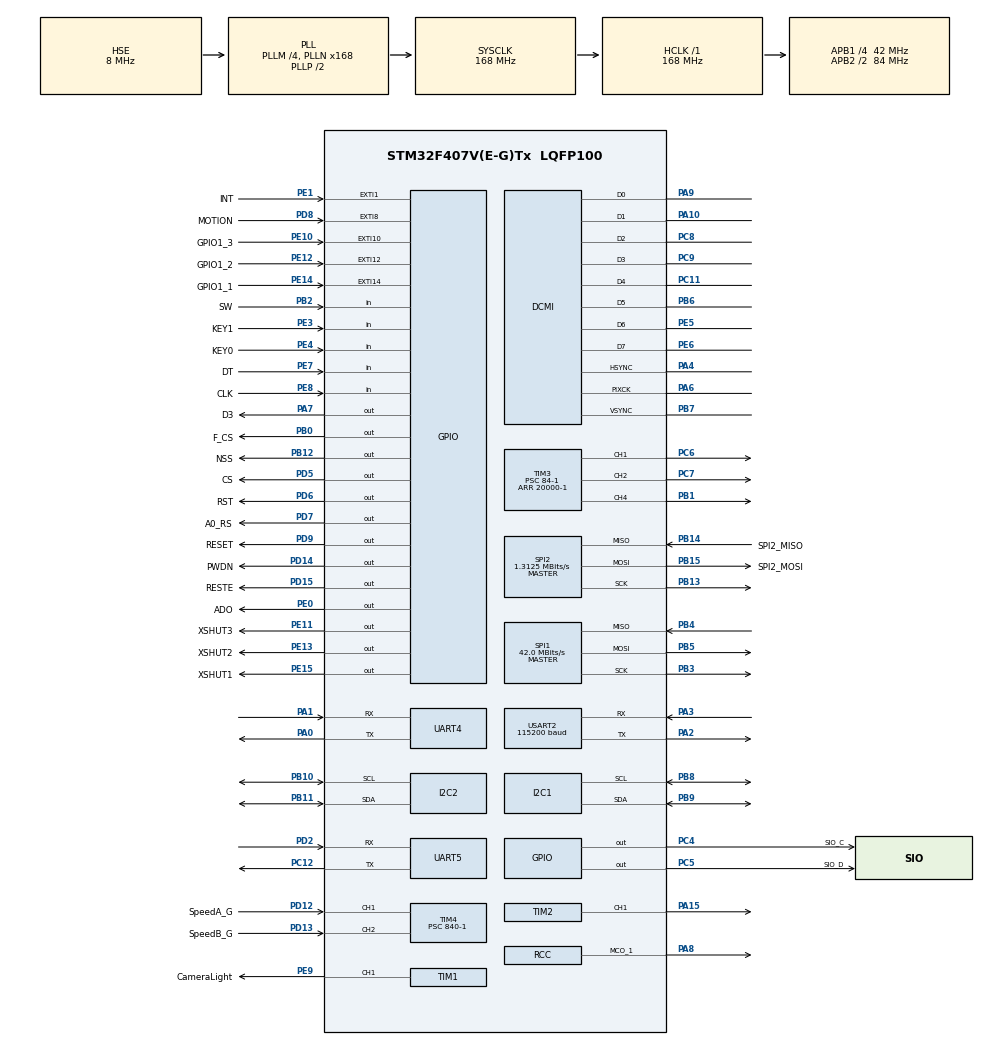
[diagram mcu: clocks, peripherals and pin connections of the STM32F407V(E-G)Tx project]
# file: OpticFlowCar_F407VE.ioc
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DCMI.HSPolarity=DCMI_HSPOLARITY_HIGH
DCMI.PCKPolarity=DCMI_PCKPOLARITY_FALLING
DCMI.VSPolarity=DCMI_VSPOLARITY_HIGH
Dma.DCMI.5.Direction=DMA_PERIPH_TO_MEMORY
Dma.DCMI.5.FIFOMode=DMA_FIFOMODE_ENABLE
Dma.DCMI.5.FIFOThreshold=DMA_FIFO_THRESHOLD_FULL
Dma.DCMI.5.Instance=DMA2_Stream1
Dma.DCMI.5.MemBurst=DMA_MBURST_SINGLE
Dma.DCMI.5.MemDataAlignment=DMA_MDATAALIGN_WORD
Dma.DCMI.5.MemInc=DMA_MINC_ENABLE
Dma.DCMI.5.Mode=DMA_CIRCULAR
Dma.DCMI.5.PeriphBurst=DMA_PBURST_SINGLE
Dma.DCMI.5.PeriphDataAlignment=DMA_PDATAALIGN_WORD
Dma.DCMI.5.PeriphInc=DMA_PINC_DISABLE
Dma.DCMI.5.Priority=DMA_PRIORITY_VERY_HIGH
Dma.Request0=SPI2_RX
Dma.Request1=SPI2_TX
Dma.Request2=USART2_TX
Dma.Request3=USART2_RX
Dma.Request4=UART5_RX
Dma.Request5=DCMI
Dma.SPI2_RX.0.Direction=DMA_PERIPH_TO_MEMORY
Dma.SPI2_RX.0.FIFOMode=DMA_FIFOMODE_ENABLE
Dma.SPI2_RX.0.FIFOThreshold=DMA_FIFO_THRESHOLD_FULL
Dma.SPI2_RX.0.Instance=DMA1_Stream3
Dma.SPI2_RX.0.MemBurst=DMA_MBURST_SINGLE
Dma.SPI2_RX.0.MemDataAlignment=DMA_MDATAALIGN_BYTE
Dma.SPI2_RX.0.MemInc=DMA_MINC_ENABLE
Dma.SPI2_RX.0.Mode=DMA_NORMAL
Dma.SPI2_RX.0.PeriphBurst=DMA_PBURST_SINGLE
Dma.SPI2_RX.0.PeriphDataAlignment=DMA_PDATAALIGN_BYTE
Dma.SPI2_RX.0.PeriphInc=DMA_PINC_DISABLE
Dma.SPI2_RX.0.Priority=DMA_PRIORITY_HIGH
Dma.SPI2_TX.1.Direction=DMA_MEMORY_TO_PERIPH
Dma.SPI2_TX.1.FIFOMode=DMA_FIFOMODE_ENABLE
Dma.SPI2_TX.1.FIFOThreshold=DMA_FIFO_THRESHOLD_FULL
Dma.SPI2_TX.1.Instance=DMA1_Stream4
Dma.SPI2_TX.1.MemBurst=DMA_MBURST_SINGLE
Dma.SPI2_TX.1.MemDataAlignment=DMA_MDATAALIGN_BYTE
Dma.SPI2_TX.1.MemInc=DMA_MINC_ENABLE
Dma.SPI2_TX.1.Mode=DMA_NORMAL
Dma.SPI2_TX.1.PeriphBurst=DMA_PBURST_SINGLE
Dma.SPI2_TX.1.PeriphDataAlignment=DMA_PDATAALIGN_BYTE
Dma.SPI2_TX.1.PeriphInc=DMA_PINC_DISABLE
Dma.SPI2_TX.1.Priority=DMA_PRIORITY_HIGH
Dma.UART5_RX.4.Direction=DMA_PERIPH_TO_MEMORY
Dma.UART5_RX.4.FIFOMode=DMA_FIFOMODE_DISABLE
Dma.UART5_RX.4.Instance=DMA1_Stream0
Dma.UART5_RX.4.MemDataAlignment=DMA_MDATAALIGN_BYTE
Dma.UART5_RX.4.MemInc=DMA_MINC_ENABLE
Dma.UART5_RX.4.Mode=DMA_NORMAL
Dma.UART5_RX.4.PeriphDataAlignment=DMA_PDATAALIGN_BYTE
Dma.UART5_RX.4.PeriphInc=DMA_PINC_DISABLE
Dma.UART5_RX.4.Priority=DMA_PRIORITY_LOW
Dma.USART2_RX.3.Direction=DMA_PERIPH_TO_MEMORY
Dma.USART2_RX.3.FIFOMode=DMA_FIFOMODE_DISABLE
Dma.USART2_RX.3.Instance=DMA1_Stream5
Dma.USART2_RX.3.MemDataAlignment=DMA_MDATAALIGN_BYTE
Dma.USART2_RX.3.MemInc=DMA_MINC_ENABLE
Dma.USART2_RX.3.Mode=DMA_NORMAL
Dma.USART2_RX.3.PeriphDataAlignment=DMA_PDATAALIGN_BYTE
Dma.USART2_RX.3.PeriphInc=DMA_PINC_DISABLE
Dma.USART2_RX.3.Priority=DMA_PRIORITY_HIGH
Dma.USART2_TX.2.Direction=DMA_MEMORY_TO_PERIPH
Dma.USART2_TX.2.FIFOMode=DMA_FIFOMODE_ENABLE
Dma.USART2_TX.2.FIFOThreshold=DMA_FIFO_THRESHOLD_FULL
Dma.USART2_TX.2.Instance=DMA1_Stream6
Dma.USART2_TX.2.MemBurst=DMA_MBURST_SINGLE
Dma.USART2_TX.2.MemDataAlignment=DMA_MDATAALIGN_BYTE
Dma.USART2_TX.2.MemInc=DMA_MINC_ENABLE
Dma.USART2_TX.2.Mode=DMA_NORMAL
Dma.USART2_TX.2.PeriphBurst=DMA_PBURST_SINGLE
Dma.USART2_TX.2.PeriphDataAlignment=DMA_PDATAALIGN_BYTE
Dma.USART2_TX.2.PeriphInc=DMA_PINC_DISABLE
Dma.USART2_TX.2.Priority=DMA_PRIORITY_HIGH
FREERTOS.INCLUDE_vTaskDelayUntil=1
FREERTOS.INCLUDE_xEventGroupSetBitFromISR=0
FREERTOS.INCLUDE_xTimerPendFunctionCall=0
FREERTOS.Tasks01=startTask,0,512,StartTask,Default,NULL,Dynamic,NULL,NULL
FREERTOS.configTIMER_TASK_STACK_DEPTH=128
FREERTOS.configTOTAL_HEAP_SIZE=32768
FREERTOS.configUSE_TIMERS=1
I2C1.DutyCycle=I2C_DUTYCYCLE_16_9
I2C1.I2C_Mode=I2C_Fast
I2C2.DutyCycle=I2C_DUTYCYCLE_16_9
I2C2.I2C_Mode=I2C_Fast
Mcu.Family=STM32F4
Mcu.Name=STM32F407V(E-G)Tx
Mcu.Package=LQFP100
NVIC.DCMI_IRQn=true\:5\:0\:false\:false\:true\:true\:true
NVIC.DMA1_Stream0_IRQn=true\:5\:0\:false\:false\:true\:true\:false
NVIC.DMA1_Stream3_IRQn=true\:5\:0\:false\:false\:true\:true\:false
NVIC.DMA1_Stream4_IRQn=true\:5\:0\:false\:false\:true\:true\:false
NVIC.DMA1_Stream5_IRQn=true\:5\:0\:false\:false\:true\:true\:false
NVIC.DMA1_Stream6_IRQn=true\:5\:0\:false\:false\:true\:true\:false
NVIC.DMA2_Stream1_IRQn=true\:5\:0\:false\:false\:true\:true\:false
NVIC.EXTI15_10_IRQn=true\:6\:0\:true\:false\:true\:true\:true
NVIC.EXTI1_IRQn=true\:6\:0\:true\:false\:true\:true\:true
NVIC.EXTI9_5_IRQn=true\:6\:0\:true\:false\:true\:true\:true
NVIC.I2C1_ER_IRQn=true\:5\:0\:false\:false\:true\:true\:true
NVIC.I2C1_EV_IRQn=true\:5\:0\:false\:false\:true\:true\:true
NVIC.I2C2_ER_IRQn=true\:5\:0\:false\:false\:true\:true\:true
NVIC.I2C2_EV_IRQn=true\:5\:0\:false\:false\:true\:true\:true
NVIC.PriorityGroup=NVIC_PRIORITYGROUP_4
NVIC.SPI1_IRQn=true\:5\:0\:false\:false\:true\:true\:true
NVIC.SPI2_IRQn=true\:5\:0\:false\:false\:true\:true\:true
NVIC.TIM3_IRQn=true\:5\:0\:false\:false\:true\:true\:true
NVIC.TIM4_IRQn=true\:5\:0\:false\:false\:true\:true\:true
NVIC.TIM7_IRQn=true\:0\:0\:false\:false\:true\:false\:false
NVIC.TimeBase=TIM7_IRQn
NVIC.TimeBaseIP=TIM7
NVIC.UART4_IRQn=true\:5\:0\:false\:false\:true\:true\:true
NVIC.UART5_IRQn=true\:5\:0\:false\:false\:true\:true\:true
NVIC.USART2_IRQn=true\:5\:0\:false\:false\:true\:true\:true
PA0-WKUP.Mode=Asynchronous
PA0-WKUP.Signal=UART4_TX
PA1.Mode=Asynchronous
PA1.Signal=UART4_RX
PA10.GPIO_PuPd=GPIO_PULLUP
PA10.GPIO_Speed=GPIO_SPEED_FREQ_VERY_HIGH
PA10.Mode=Slave_8_bits_External_Synchro
PA10.Signal=DCMI_D1
PA13.Mode=Serial_Wire
PA13.Signal=SYS_JTMS-SWDIO
PA14.Mode=Serial_Wire
PA14.Signal=SYS_JTCK-SWCLK
PA15.Signal=S_TIM2_CH1_ETR
PA2.Mode=Asynchronous
PA2.Signal=USART2_TX
PA3.Mode=Asynchronous
PA3.Signal=USART2_RX
PA4.GPIO_PuPd=GPIO_PULLUP
PA4.GPIO_Speed=GPIO_SPEED_FREQ_VERY_HIGH
PA4.Mode=Slave_8_bits_External_Synchro
PA4.Signal=DCMI_HSYNC
PA6.GPIO_PuPd=GPIO_PULLUP
PA6.GPIO_Speed=GPIO_SPEED_FREQ_VERY_HIGH
PA6.Mode=Slave_8_bits_External_Synchro
PA6.Signal=DCMI_PIXCK
PA7.GPIO_Label=D3
PA7.GPIO_ModeDefaultOutputPP=GPIO_MODE_OUTPUT_OD
PA7.PinState=GPIO_PIN_SET
PA7.Signal=GPIO_Output
PA8.GPIO_Speed=GPIO_SPEED_FREQ_MEDIUM
PA8.Mode=Clock-out-1
PA8.Signal=RCC_MCO_1
PA9.GPIO_PuPd=GPIO_PULLUP
PA9.GPIO_Speed=GPIO_SPEED_FREQ_VERY_HIGH
PA9.Mode=Slave_8_bits_External_Synchro
PA9.Signal=DCMI_D0
PB0.GPIO_Label=F_CS
PB0.GPIO_ModeDefaultOutputPP=GPIO_MODE_OUTPUT_OD
PB0.GPIO_Speed=GPIO_SPEED_FREQ_VERY_HIGH
PB0.PinState=GPIO_PIN_SET
PB0.Signal=GPIO_Output
PB1.GPIO_ModeDefaultPP=GPIO_MODE_AF_PP
PB1.GPIO_PuPd=GPIO_NOPULL
PB1.Signal=S_TIM3_CH4
PB10.Mode=I2C
PB10.Signal=I2C2_SCL
PB11.Mode=I2C
PB11.Signal=I2C2_SDA
PB12.GPIO_Label=NSS
PB12.GPIO_Speed=GPIO_SPEED_FREQ_VERY_HIGH
PB12.PinState=GPIO_PIN_SET
PB12.Signal=GPIO_Output
PB13.Mode=Full_Duplex_Master
PB13.Signal=SPI2_SCK
PB14.GPIO_Label=SPI2_MISO
PB14.Mode=Full_Duplex_Master
PB14.Signal=SPI2_MISO
PB15.GPIO_Label=SPI2_MOSI
PB15.Mode=Full_Duplex_Master
PB15.Signal=SPI2_MOSI
PB2.GPIO_Label=SW
PB2.Signal=GPIO_Input
PB3.Mode=Full_Duplex_Master
PB3.Signal=SPI1_SCK
PB4.Mode=Full_Duplex_Master
PB4.Signal=SPI1_MISO
PB5.Mode=Full_Duplex_Master
PB5.Signal=SPI1_MOSI
PB6.GPIO_PuPd=GPIO_PULLUP
PB6.GPIO_Speed=GPIO_SPEED_FREQ_VERY_HIGH
PB6.Mode=Slave_8_bits_External_Synchro
PB6.Signal=DCMI_D5
PB7.GPIO_PuPd=GPIO_PULLUP
PB7.GPIO_Speed=GPIO_SPEED_FREQ_VERY_HIGH
PB7.Mode=Slave_8_bits_External_Synchro
PB7.Signal=DCMI_VSYNC
PB8.Mode=I2C
PB8.Signal=I2C1_SCL
PB9.Mode=I2C
PB9.Signal=I2C1_SDA
PC11.GPIO_PuPd=GPIO_PULLUP
PC11.GPIO_Speed=GPIO_SPEED_FREQ_VERY_HIGH
PC11.Mode=Slave_8_bits_External_Synchro
PC11.Signal=DCMI_D4
PC12.Mode=Asynchronous
PC12.Signal=UART5_TX
PC14-OSC32_IN.Mode=LSE-External-Oscillator
PC14-OSC32_IN.Signal=RCC_OSC32_IN
PC15-OSC32_OUT.Mode=LSE-External-Oscillator
PC15-OSC32_OUT.Signal=RCC_OSC32_OUT
PC4.GPIO_Label=SIO_C
PC4.GPIO_ModeDefaultOutputPP=GPIO_MODE_OUTPUT_OD
PC4.GPIO_Speed=GPIO_SPEED_FREQ_HIGH
PC4.PinState=GPIO_PIN_SET
PC4.Signal=GPIO_Output
PC5.GPIO_Label=SIO_D
PC5.GPIO_ModeDefaultOutputPP=GPIO_MODE_OUTPUT_OD
PC5.GPIO_Speed=GPIO_SPEED_FREQ_HIGH
PC5.PinState=GPIO_PIN_SET
PC5.Signal=GPIO_Output
PC6.Signal=S_TIM3_CH1
PC7.Signal=S_TIM3_CH2
PC8.GPIO_PuPd=GPIO_PULLUP
PC8.GPIO_Speed=GPIO_SPEED_FREQ_VERY_HIGH
PC8.Mode=Slave_8_bits_External_Synchro
PC8.Signal=DCMI_D2
PC9.GPIO_PuPd=GPIO_PULLUP
PC9.GPIO_Speed=GPIO_SPEED_FREQ_VERY_HIGH
PC9.Mode=Slave_8_bits_External_Synchro
PC9.Signal=DCMI_D3
PD12.GPIO_Label=SpeedA_G
PD12.GPIO_ModeDefaultPP=GPIO_MODE_AF_OD
PD12.Signal=S_TIM4_CH1
PD13.GPIO_Label=SpeedB_G
PD13.GPIO_ModeDefaultPP=GPIO_MODE_AF_OD
PD13.Signal=S_TIM4_CH2
PD14.GPIO_Label=PWDN
PD14.Signal=GPIO_Output
PD15.GPIO_Label=RESTE
PD15.Signal=GPIO_Output
PD2.Mode=Asynchronous
PD2.Signal=UART5_RX
PD5.GPIO_Label=CS
PD5.GPIO_Speed=GPIO_SPEED_FREQ_VERY_HIGH
PD5.PinState=GPIO_PIN_SET
PD5.Signal=GPIO_Output
PD6.GPIO_Label=RST
PD6.PinState=GPIO_PIN_SET
PD6.Signal=GPIO_Output
PD7.GPIO_Label=A0_RS
PD7.GPIO_Speed=GPIO_SPEED_FREQ_VERY_HIGH
PD7.PinState=GPIO_PIN_SET
PD7.Signal=GPIO_Output
PD8.GPIO_Label=MOTION
PD8.GPIO_ModeDefaultEXTI=GPIO_MODE_IT_FALLING
PD8.GPIO_PuPd=GPIO_PULLUP
PD8.Signal=GPXTI8
PD9.GPIO_Label=RESET
PD9.GPIO_ModeDefaultOutputPP=GPIO_MODE_OUTPUT_OD
PD9.PinState=GPIO_PIN_SET
PD9.Signal=GPIO_Output
PE0.GPIO_Label=ADO
PE0.Signal=GPIO_Output
PE1.GPIO_Label=INT
PE1.Signal=GPXTI1
PE10.GPIO_Label=GPIO1_3
PE10.GPIO_ModeDefaultEXTI=GPIO_MODE_IT_FALLING
PE10.GPIO_PuPd=GPIO_PULLUP
PE10.Signal=GPXTI10
PE11.GPIO_Label=XSHUT3
PE11.Signal=GPIO_Output
PE12.GPIO_Label=GPIO1_2
PE12.GPIO_ModeDefaultEXTI=GPIO_MODE_IT_FALLING
PE12.GPIO_PuPd=GPIO_PULLUP
PE12.Signal=GPXTI12
PE13.GPIO_Label=XSHUT2
PE13.Signal=GPIO_Output
PE14.GPIO_Label=GPIO1_1
PE14.GPIO_ModeDefaultEXTI=GPIO_MODE_IT_FALLING
PE14.GPIO_PuPd=GPIO_PULLUP
PE14.Signal=GPXTI14
PE15.GPIO_Label=XSHUT1
PE15.Signal=GPIO_Output
PE3.GPIO_Label=KEY1
PE3.Signal=GPIO_Input
PE4.GPIO_Label=KEY0
PE4.GPIO_PuPd=GPIO_PULLUP
PE4.Signal=GPIO_Input
PE5.GPIO_PuPd=GPIO_PULLUP
PE5.GPIO_Speed=GPIO_SPEED_FREQ_VERY_HIGH
PE5.Mode=Slave_8_bits_External_Synchro
PE5.Signal=DCMI_D6
PE6.GPIO_PuPd=GPIO_PULLUP
PE6.GPIO_Speed=GPIO_SPEED_FREQ_VERY_HIGH
PE6.Mode=Slave_8_bits_External_Synchro
PE6.Signal=DCMI_D7
PE7.GPIO_Label=DT
PE7.Signal=GPIO_Input
PE8.GPIO_Label=CLK
PE8.Signal=GPIO_Input
PE9.GPIO_Label=CameraLight
PE9.GPIO_ModeDefaultPP=GPIO_MODE_AF_OD
PE9.Signal=S_TIM1_CH1
PH0-OSC_IN.Mode=HSE-External-Oscillator
PH0-OSC_IN.Signal=RCC_OSC_IN
PH1-OSC_OUT.Mode=HSE-External-Oscillator
PH1-OSC_OUT.Signal=RCC_OSC_OUT
ProjectManager.HeapSize=0x1000
ProjectManager.StackSize=0x400
ProjectManager.TargetToolchain=MDK-ARM V5
RCC.48MHZClocksFreq_Value=48000000
RCC.AHBFreq_Value=168000000
RCC.APB1CLKDivider=RCC_HCLK_DIV4
RCC.APB1Freq_Value=42000000
RCC.APB1TimFreq_Value=84000000
RCC.APB2CLKDivider=RCC_HCLK_DIV2
RCC.APB2Freq_Value=84000000
RCC.APB2TimFreq_Value=168000000
RCC.CortexFreq_Value=168000000
RCC.HCLKFreq_Value=168000000
RCC.HSE_VALUE=8000000
RCC.HSI_VALUE=16000000
RCC.PLLM=4
RCC.PLLN=168
RCC.PLLQ=7
RCC.PLLSourceVirtual=RCC_PLLSOURCE_HSE
RCC.SYSCLKFreq_VALUE=168000000
RCC.SYSCLKSource=RCC_SYSCLKSOURCE_PLLCLK
RCC.VCOOutputFreq_Value=336000000
SH.S_TIM1_CH1.0=TIM1_CH1,PWM Generation1 CH1
SH.S_TIM2_CH1_ETR.0=TIM2_CH1,PWM Generation1 CH1
SH.S_TIM3_CH1.0=TIM3_CH1,PWM Generation1 CH1
SH.S_TIM3_CH2.0=TIM3_CH2,PWM Generation2 CH2
SH.S_TIM3_CH4.0=TIM3_CH4,PWM Generation4 CH4
SH.S_TIM4_CH1.0=TIM4_CH1,Input_Capture1_from_TI1
SH.S_TIM4_CH2.0=TIM4_CH2,Input_Capture2_from_TI2
SPI1.BaudRatePrescaler=SPI_BAUDRATEPRESCALER_2
SPI1.CLKPolarity=SPI_POLARITY_LOW
SPI1.CalculateBaudRate=42.0 MBits/s
SPI1.Direction=SPI_DIRECTION_2LINES
SPI1.Mode=SPI_MODE_MASTER
SPI1.VirtualType=VM_MASTER
SPI2.BaudRatePrescaler=SPI_BAUDRATEPRESCALER_32
SPI2.CalculateBaudRate=1.3125 MBits/s
SPI2.Direction=SPI_DIRECTION_2LINES
SPI2.Mode=SPI_MODE_MASTER
SPI2.VirtualType=VM_MASTER
TIM1.Channel-PWM\ Generation1\ CH1=TIM_CHANNEL_1
TIM2.Channel-PWM\ Generation1\ CH1=TIM_CHANNEL_1
TIM2.Period=100
TIM2.Prescaler=42-1
TIM3.Channel-PWM\ Generation1\ CH1=TIM_CHANNEL_1
TIM3.Channel-PWM\ Generation2\ CH2=TIM_CHANNEL_2
TIM3.Channel-PWM\ Generation4\ CH4=TIM_CHANNEL_4
TIM3.OCPolarity_4=TIM_OCPOLARITY_HIGH
TIM3.Period=20000-1
TIM3.Prescaler=84-1
TIM3.Pulse-PWM\ Generation1\ CH1=1500
TIM3.Pulse-PWM\ Generation2\ CH2=1500
TIM3.Pulse-PWM\ Generation4\ CH4=1500
TIM4.Channel-Input_Capture1_from_TI1=TIM_CHANNEL_1
TIM4.Channel-Input_Capture2_from_TI2=TIM_CHANNEL_2
TIM4.ICFilter_CH1=8
TIM4.ICFilter_CH2=8
TIM4.Period=20000-1
TIM4.Prescaler=840-1
UART4.VirtualMode=Asynchronous
UART5.VirtualMode=Asynchronous
USART2.BaudRate=115200
USART2.VirtualMode=VM_ASYNC
VP_CRC_VS_CRC.Mode=CRC_Activate
VP_FREERTOS_VS_ENABLE.Mode=Enabled
VP_SYS_VS_tim7.Mode=TIM7
board=custom

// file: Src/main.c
/**
  ******************************************************************************
  * @file           : main.c
  * @brief          : Main program body
  ******************************************************************************
  * This notice applies to any and all portions of this file
  * that are not between comment pairs USER CODE BEGIN and
  * USER CODE END. Other portions of this file, whether
  * inserted by the user or by software development tools
  * are owned by their respective copyright owners.
  *
  * Copyright (c) 2018 STMicroelectronics International N.V.
  * All rights reserved.
  *
  * Redistribution and use in source and binary forms, with or without
  * modification, are permitted, provided that the following conditions are met:
  *
  * 1. Redistribution of source code must retain the above copyright notice,
  *    this list of conditions and the following disclaimer.
  * 2. Redistributions in binary form must reproduce the above copyright notice,
  *    this list of conditions and the following disclaimer in the documentation
  *    and/or other materials provided with the distribution.
  * 3. Neither the name of STMicroelectronics nor the names of other
  *    contributors to this software may be used to endorse or promote products
  *    derived from this software without specific written permission.
  * 4. This software, including modifications and/or derivative works of this
  *    software, must execute solely and exclusively on microcontroller or
  *    microprocessor devices manufactured by or for STMicroelectronics.
  * 5. Redistribution and use of this software other than as permitted under
  *    this license is void and will automatically terminate your rights under
  *    this license.
  *
  * THIS SOFTWARE IS PROVIDED BY STMICROELECTRONICS AND CONTRIBUTORS "AS IS"
  * AND ANY EXPRESS, IMPLIED OR STATUTORY WARRANTIES, INCLUDING, BUT NOT
  * LIMITED TO, THE IMPLIED WARRANTIES OF MERCHANTABILITY, FITNESS FOR A
  * PARTICULAR PURPOSE AND NON-INFRINGEMENT OF THIRD PARTY INTELLECTUAL PROPERTY
  * RIGHTS ARE DISCLAIMED TO THE FULLEST EXTENT PERMITTED BY LAW. IN NO EVENT
  * SHALL STMICROELECTRONICS OR CONTRIBUTORS BE LIABLE FOR ANY DIRECT, INDIRECT,
  * INCIDENTAL, SPECIAL, EXEMPLARY, OR CONSEQUENTIAL DAMAGES (INCLUDING, BUT NOT
  * LIMITED TO, PROCUREMENT OF SUBSTITUTE GOODS OR SERVICES; LOSS OF USE, DATA,
  * OR PROFITS; OR BUSINESS INTERRUPTION) HOWEVER CAUSED AND ON ANY THEORY OF
  * LIABILITY, WHETHER IN CONTRACT, STRICT LIABILITY, OR TORT (INCLUDING
  * NEGLIGENCE OR OTHERWISE) ARISING IN ANY WAY OUT OF THE USE OF THIS SOFTWARE,
  * EVEN IF ADVISED OF THE POSSIBILITY OF SUCH DAMAGE.
  *
  ******************************************************************************
  */
#include "main.h"
#include "stm32f4xx_hal.h"
#include "cmsis_os.h"
#include "crc.h"
#include "dcmi.h"
#include "dma.h"
#include "i2c.h"
#include "spi.h"
#include "tim.h"
#include "usart.h"
#include "gpio.h"

/* USER CODE BEGIN Includes */
#include "dwt_stm32_delay.h"
#include "eeprom.h"
#include "lcd.h"

/* USER CODE END Includes */

/* USER CODE BEGIN PV */
/* Private variables ---------------------------------------------------------*/

/*需烧写bootloader 转跳0x08020000地址方可运行
* 注意定义 VECT_TAB_OFFSET  0x20000 偏移128kb
* 参数存储地址0x08004000 扇区1，2 */

/* USER CODE END PV */

void SystemClock_Config(void);
void MX_FREERTOS_Init(void);

/* USER CODE BEGIN PFP */
/* Private function prototypes -----------------------------------------------*/
uint16_t VirtAddVarTab[NB_OF_VAR];
/* USER CODE END PFP */

int main(void)
{
  /* USER CODE BEGIN 1 */
   //NVIC_SetVectorTable(NVIC_VectTab_RAM, 0x0);

  /* USER CODE END 1 */

  /* MCU Configuration----------------------------------------------------------*/

  /* Reset of all peripherals, Initializes the Flash interface and the Systick. */
  HAL_Init();

  /* Configure the system clock */
  SystemClock_Config();

  /* USER CODE BEGIN SysInit */
	  /* STM32F405x/407x/415x/417x Revision Z devices: prefetch is supported 开启Flash预取？？ */
  if (HAL_GetREVID() == 0x1001)
  {
    /* Enable the Flash prefetch */
    __HAL_FLASH_PREFETCH_BUFFER_ENABLE();
  }
  if(DWT_Delay_Init())
  {
    Error_Handler(); /* Call Error Handler */
  }
  //HAL_Delay(100);
  /* USER CODE END SysInit */

  /* Initialize all configured peripherals */
  MX_GPIO_Init();
  MX_DMA_Init();
  MX_UART4_Init();
  MX_I2C1_Init();
  MX_SPI2_Init();
  MX_I2C2_Init();
  MX_SPI1_Init();
  MX_TIM3_Init();
  MX_CRC_Init();
  MX_TIM2_Init();
  MX_DCMI_Init();
  MX_USART2_UART_Init();
  MX_UART5_Init();
  MX_TIM4_Init();
  MX_TIM1_Init();
  /* USER CODE BEGIN 2 */
  /* 关闭中断 有时MCU复位但外设没有复位，容易导致错误 系统启动后恢复*/
  HAL_NVIC_DisableIRQ(EXTI1_IRQn);
  HAL_NVIC_DisableIRQ(EXTI4_IRQn);
  HAL_NVIC_DisableIRQ(EXTI9_5_IRQn);
  HAL_NVIC_DisableIRQ(EXTI15_10_IRQn);

  HAL_FLASH_Unlock();
  for(uint8_t i;i<NB_OF_VAR;i++)  VirtAddVarTab[i] = 0x1800 + i; //初始化虚拟地址
  if( EE_Init() != EE_OK)
  {
    Error_Handler();
  }
  //EE_WriteVariable(VirtAddVarTab[0],1);

  LCDx_Init();

  /* USER CODE END 2 */

  /* Call init function for freertos objects (in freertos.c) */
  MX_FREERTOS_Init();

  /* Start scheduler */
  osKernelStart();

  /* We should never get here as control is now taken by the scheduler */

  /* Infinite loop */
  while (1)
  {

  }

}

void SystemClock_Config(void)
{

  RCC_OscInitTypeDef RCC_OscInitStruct;
  RCC_ClkInitTypeDef RCC_ClkInitStruct;

    /**Configure the main internal regulator output voltage
    */
  __HAL_RCC_PWR_CLK_ENABLE();

  __HAL_PWR_VOLTAGESCALING_CONFIG(PWR_REGULATOR_VOLTAGE_SCALE1);

    /**Initializes the CPU, AHB and APB busses clocks
    */
  RCC_OscInitStruct.OscillatorType = RCC_OSCILLATORTYPE_HSI|RCC_OSCILLATORTYPE_HSE;
  RCC_OscInitStruct.HSEState = RCC_HSE_ON;
  RCC_OscInitStruct.HSIState = RCC_HSI_ON;
  RCC_OscInitStruct.HSICalibrationValue = 16;
  RCC_OscInitStruct.PLL.PLLState = RCC_PLL_ON;
  RCC_OscInitStruct.PLL.PLLSource = RCC_PLLSOURCE_HSE;
  RCC_OscInitStruct.PLL.PLLM = 4;
  RCC_OscInitStruct.PLL.PLLN = 168;
  RCC_OscInitStruct.PLL.PLLP = RCC_PLLP_DIV2;
  RCC_OscInitStruct.PLL.PLLQ = 7;
  if (HAL_RCC_OscConfig(&RCC_OscInitStruct) != HAL_OK)
  {
    _Error_Handler(__FILE__, __LINE__);
  }

    /**Initializes the CPU, AHB and APB busses clocks
    */
  RCC_ClkInitStruct.ClockType = RCC_CLOCKTYPE_HCLK|RCC_CLOCKTYPE_SYSCLK
                              |RCC_CLOCKTYPE_PCLK1|RCC_CLOCKTYPE_PCLK2;
  RCC_ClkInitStruct.SYSCLKSource = RCC_SYSCLKSOURCE_PLLCLK;
  RCC_ClkInitStruct.AHBCLKDivider = RCC_SYSCLK_DIV1;
  RCC_ClkInitStruct.APB1CLKDivider = RCC_HCLK_DIV4;
  RCC_ClkInitStruct.APB2CLKDivider = RCC_HCLK_DIV2;

  if (HAL_RCC_ClockConfig(&RCC_ClkInitStruct, FLASH_LATENCY_5) != HAL_OK)
  {
    _Error_Handler(__FILE__, __LINE__);
  }

  HAL_RCC_MCOConfig(RCC_MCO1, RCC_MCO1SOURCE_HSI, RCC_MCODIV_1);

    /**Configure the Systick interrupt time
    */
  HAL_SYSTICK_Config(HAL_RCC_GetHCLKFreq()/1000);

    /**Configure the Systick
    */
  HAL_SYSTICK_CLKSourceConfig(SYSTICK_CLKSOURCE_HCLK);

  /* SysTick_IRQn interrupt configuration */
  HAL_NVIC_SetPriority(SysTick_IRQn, 15, 0);
}

void HAL_TIM_PeriodElapsedCallback(TIM_HandleTypeDef *htim)
{
  if (htim->Instance == TIM7) {
    HAL_IncTick();
  }
}

void _Error_Handler(char *file, int line)
{
  /* USER CODE BEGIN Error_Handler_Debug */
  /* User can add his own implementation to report the HAL error return state */
//	GPIO_InitTypeDef GPIO_InitStruct;
//	__HAL_RCC_GPIOA_CLK_ENABLE();
//	GPIO_InitStruct.Pin = D3_Pin;
//  GPIO_InitStruct.Mode = GPIO_MODE_OUTPUT_OD;
//  GPIO_InitStruct.Pull = GPIO_NOPULL;
//  GPIO_InitStruct.Speed = GPIO_SPEED_FREQ_LOW;
//  HAL_GPIO_Init(D3_GPIO_Port, &GPIO_InitStruct);
  while(1)
  {
	  HAL_Delay(500);
	  HAL_GPIO_TogglePin(D3_GPIO_Port,D3_Pin);
  }
  /* USER CODE END Error_Handler_Debug */
}

/************************ (C) COPYRIGHT STMicroelectronics *****END OF FILE****/

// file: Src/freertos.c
/* USER CODE BEGIN Header */
/**
  ******************************************************************************
  * File Name          : freertos.c
  * Description        : Code for freertos applications
  ******************************************************************************
  * This notice applies to any and all portions of this file
  * that are not between comment pairs USER CODE BEGIN and
  * USER CODE END. Other portions of this file, whether
  * inserted by the user or by software development tools
  * are owned by their respective copyright owners.
  *
  * Copyright (c) 2018 STMicroelectronics International N.V.
  * All rights reserved.
  *
  * Redistribution and use in source and binary forms, with or without
  * modification, are permitted, provided that the following conditions are met:
  *
  * 1. Redistribution of source code must retain the above copyright notice,
  *    this list of conditions and the following disclaimer.
  * 2. Redistributions in binary form must reproduce the above copyright notice,
  *    this list of conditions and the following disclaimer in the documentation
  *    and/or other materials provided with the distribution.
  * 3. Neither the name of STMicroelectronics nor the names of other
  *    contributors to this software may be used to endorse or promote products
  *    derived from this software without specific written permission.
  * 4. This software, including modifications and/or derivative works of this
  *    software, must execute solely and exclusively on microcontroller or
  *    microprocessor devices manufactured by or for STMicroelectronics.
  * 5. Redistribution and use of this software other than as permitted under
  *    this license is void and will automatically terminate your rights under
  *    this license.
  *
  * THIS SOFTWARE IS PROVIDED BY STMICROELECTRONICS AND CONTRIBUTORS "AS IS"
  * AND ANY EXPRESS, IMPLIED OR STATUTORY WARRANTIES, INCLUDING, BUT NOT
  * LIMITED TO, THE IMPLIED WARRANTIES OF MERCHANTABILITY, FITNESS FOR A
  * PARTICULAR PURPOSE AND NON-INFRINGEMENT OF THIRD PARTY INTELLECTUAL PROPERTY
  * RIGHTS ARE DISCLAIMED TO THE FULLEST EXTENT PERMITTED BY LAW. IN NO EVENT
  * SHALL STMICROELECTRONICS OR CONTRIBUTORS BE LIABLE FOR ANY DIRECT, INDIRECT,
  * INCIDENTAL, SPECIAL, EXEMPLARY, OR CONSEQUENTIAL DAMAGES (INCLUDING, BUT NOT
  * LIMITED TO, PROCUREMENT OF SUBSTITUTE GOODS OR SERVICES; LOSS OF USE, DATA,
  * OR PROFITS; OR BUSINESS INTERRUPTION) HOWEVER CAUSED AND ON ANY THEORY OF
  * LIABILITY, WHETHER IN CONTRACT, STRICT LIABILITY, OR TORT (INCLUDING
  * NEGLIGENCE OR OTHERWISE) ARISING IN ANY WAY OUT OF THE USE OF THIS SOFTWARE,
  * EVEN IF ADVISED OF THE POSSIBILITY OF SUCH DAMAGE.
  *
  ******************************************************************************
  */
/* USER CODE END Header */

#include "FreeRTOS.h"
#include "task.h"
#include "main.h"
#include "cmsis_os.h"

/* USER CODE BEGIN Includes */
#include "tim.h"
#include "i2c.h"
#include "spi.h"
#include "motoctrl.h"
#include "mpu9250.h"
#include "pmw3901.h"
#include "vl53l0x.h"
#include "ov7670.h"
#include "GUI.h"
#include "DIALOG.h"
#include "DataDisplayDLG.h"
#include "EasyTracer.h"
#include "servoctrl.h"
//#include "picture.c"
/* USER CODE END Includes */

/* USER CODE BEGIN PTD */
extern GUI_CONST_STORAGE GUI_BITMAP bm_20180519160039;
extern uint16_t ov7670ID;
extern uint32_t Frametime;
  uint8_t write,regc,data;
  uint16_t sx;uint16_t sy = 320;
  uint32_t X0; uint32_t Y0;
//extern WM_HWIN CreateWindow(void);
//extern WM_HWIN CreateCameraView(void);
/* USER CODE END PTD */

/* USER CODE BEGIN PM */
uint32_t lightC;
/* USER CODE END PM */

osThreadId startTaskHandle;

/* USER CODE BEGIN FunctionPrototypes */
extern uint16_t ov7670Frame[160][120];
CCMRAM uint16_t ov7670FrameL[160][120];
RESULT Resu;
TARGET_CONDI Condition={40,60,130,235,155,230,45,45,160,160};  //黄色  {10,67,100,255,63,195,20,20,120,160};{40,60,130,235,155,230,20,20,120,160};
void exchangframelb(uint8_t *B,uint8_t *L,uint32_t num)
{
	for(uint32_t i = 0;i<num;i++)
	{
		L[i+1] = B[i];
		L[i] = B[i+1];
		i++;
	}
}
GUI_CONST_STORAGE GUI_BITMAP camera = {
  120, // xSize
  160, // ySize
  240, // BytesPerLine //每行的字节数
  16, // BitsPerPixel
  (unsigned char *)ov7670FrameL,  // Pointer to picture data
  NULL,  // Pointer to palette
  GUI_DRAW_BMPM565
};

uint8_t cap;
uint8_t SwDis;
/* USER CODE END FunctionPrototypes */

void StartTask(void const * argument);

void MX_FREERTOS_Init(void); /* (MISRA C 2004 rule 8.1) */

void MX_FREERTOS_Init(void) {
  /* USER CODE BEGIN Init */
	//pmw3901_init();

	SPIFreertosInit();
	I2CFreertosInit();
	//PMW3901FreertosInit();
	vl53l0xFreertosInit();
	//while(1); // 测试 减少代码
	OV7670FreertosInit();
	MPU9250FreertosInit();
	//vl53l0xFreertosInit();
	MotoCtrlFreertosInit();
	ServoCtrlFreertosInit();
  /* USER CODE END Init */

  /* Create the thread(s) */
  /* definition and creation of startTask */
  osThreadDef(startTask, StartTask, osPriorityNormal, 0, 512);
  startTaskHandle = osThreadCreate(osThread(startTask), NULL);

}

void StartTask(void const * argument)
{

  /* USER CODE BEGIN StartTask */
  /* Infinite loop */
	//portENTER_CRITICAL();
	WM_HWIN hWinDatadisplay;
	//  WM_HWIN hWin;
	//WM_HWIN hCameraView;
	//IMAGE_Handle hcamera;

	IMAGE_Handle hlogo;
	TEXT_Handle hyaw;
	TEXT_Handle hleftdis;
	TEXT_Handle hcenterdis;
	TEXT_Handle hrightdis;
	char temp[20];
	GUI_Init();
	//GUI_EnableAlpha(1);
	//WM_MULTIBUF_Enable(1);  /* 使能多缓冲 */
	GUI_SetColor(GUI_RED);
	//GUI_SetTextMode(GUI_TM_TRANS);
	//hWin = CreateWindow();
	hWinDatadisplay = CreateDataDisplay(); // 界面1 数据查看

	hlogo = WM_GetDialogItem(hWinDatadisplay,ID_IMAGE_0);
	hyaw = WM_GetDialogItem(hWinDatadisplay,ID_TEXT_0);
	hleftdis = WM_GetDialogItem(hWinDatadisplay,ID_TEXT_1);
	hcenterdis = WM_GetDialogItem(hWinDatadisplay,ID_TEXT_2);
	hrightdis = WM_GetDialogItem(hWinDatadisplay,ID_TEXT_3);

//	hCameraView = CreateCameraView(); // 界面2 摄像头
//	WM_HideWindow(hCameraView); // 隐藏界面2 默认界面1
//	hcamera = WM_GetDialogItem(hCameraView,GUI_ID_USER+1); // 获取摄像头图像句柄

	IMAGE_SetBitmap(hlogo,&bm_20180519160039);
	//portEXIT_CRITICAL();
	/* 开外部中断 */
	GUI_Delay(50); // 延时刷屏
	//HAL_NVIC_EnableIRQ(EXTI1_IRQn);
   HAL_NVIC_EnableIRQ(EXTI4_IRQn);
   HAL_NVIC_EnableIRQ(EXTI9_5_IRQn);
   HAL_NVIC_EnableIRQ(EXTI15_10_IRQn);
	/* 开lcd背光 */
	 HAL_TIM_PWM_Start(&htim2,TIM_CHANNEL_1);
	__HAL_TIM_SetCompare(&htim2,TIM_CHANNEL_1,40);
	uint8_t temp1[2];
	temp1[0] = 0x01;
	temp1[1] = 0xFe;
	//WM_HideWindow(hWinDatadisplay);
	osEvent StartTaskEvent;
	uint8_t result;
	 //HAL_DCMI_Start_DMA(&hdcmi, DCMI_MODE_SNAPSHOT, (uint32_t)ov7670Frame, 0x2580);
  for(;;)
  {
	  if(write)
	  {
		  write = 0;
	     CAMERA_IO_Write(OV7670_I2C_ADDRESS, regc, data);
		  //ov7670_drv.Window_Set(OV7670_I2C_ADDRESS,sx,sy,120,160);	//设置窗口
	  }
	 // pmw3901_run();
	 // yawt = Yaw;

//		sprintf(temp,"Yaw: %3.2f %.2f",HeadingDegrees,Yaw);
//	  TEXT_SetText(hyaw,temp);
//	  sprintf(temp,"LeftDis: %3d mm",VL53L0XRangingMeasurementData[0].RangeMilliMeter);
//	  TEXT_SetText(hleftdis,temp);
//	  sprintf(temp,"CenterDis: %3d mm",VL53L0XRangingMeasurementData[1].RangeMilliMeter);
//	  TEXT_SetText(hcenterdis,temp);
//	  sprintf(temp,"RightDis: %x mm",ov7670ID);
//	  TEXT_SetText(hrightdis,temp);
	  //HAL_GPIO_TogglePin(D3_GPIO_Port,D3_Pin);

	 StartTaskEvent = osSignalWait(0x02,100);
	  if(StartTaskEvent.status == osEventSignal)
	  {
		  if(StartTaskEvent.value.signals&0x01)
		  {
			  HAL_GPIO_WritePin(F_CS_GPIO_Port,F_CS_Pin,GPIO_PIN_SET);
				exchangframelb((uint8_t *)ov7670Frame,(uint8_t *)ov7670FrameL,9600*4);
				  if(Trace(&Condition,&Resu))
				  {
						result = 1;
				  }
				 HAL_GPIO_WritePin(F_CS_GPIO_Port,F_CS_Pin,GPIO_PIN_RESET);
			  if(SwDis == 1)
			  {

				  sprintf(temp,"FPS: %2d",Frametime);
					GUI_DispStringHCenterAt(temp,50,10);
				  if(result)
				  {

					  result = 0;
					  //GUI_DrawRect(Resu.x-Resu.h/2,Resu.y+Resu.h/2,Resu.x+Resu.h/2,Resu.y-Resu.h/2);
					  GUI_DrawCircle(Resu.x,Resu.y,Resu.h/2);
					  sprintf(temp,"X:%d,Y:%d\nH:%d",Resu.x,Resu.y,Resu.h);
					 // GUI_DispString(temp);
					  GUI_DispStringHCenterAt(temp,Resu.x,Resu.y);
				  }
				  //GUI_SelectLayer(0);
				// IMAGE_SetBitmap(hlogo,&camera);
				 // GUI_DrawBitmapEx(&camera,4,0,0,0,0,0);

				  GUI_DrawBitmap(&camera,4,0);
					//GUI_SelectLayer(1);
				  //IMAGE_SetBitmap(hcamera,&camera);
				 GUI_Delay(5);  //延迟刷屏
				  //HAL_DCMI_Start_DMA(&hdcmi, DCMI_MODE_SNAPSHOT, (uint32_t)ov7670Frame, 0x2580);
			  }
			  else if(SwDis == 0)
			  {

				  sprintf(temp,"Yaw: %3.2f %.2f",HeadingDegrees,Yaw);
				  TEXT_SetText(hyaw,temp);
				  sprintf(temp,"%3d|%3d|%3d",VL53L0XRangingMeasurementData[VL53L0X_DEV_LEFT].RangeMilliMeter,vl53l0x_dis3,VL53L0XRangingMeasurementData[VL53L0X_DEV_RIGHT].RangeMilliMeter);
				  TEXT_SetText(hleftdis,temp);
				  //sprintf(temp,"RightDis: %3d mm",VL53L0XRangingMeasurementData[VL53L0X_DEV_RIGHT].RangeMilliMeter);
				  sprintf(temp,"%.3f,%.3f,%.3f",Yaw,Pitch,Roll);
				  TEXT_SetText(hcenterdis,temp);
				  sprintf(temp,"%d,X:%d,Y:%d",MotionBurst.squal,(int16_t)pmw3901LpfX,(int16_t)pmw3901LpfY);
				  TEXT_SetText(hrightdis,temp);
				  GUI_Delay(5);
			  }
			  else
			  {
				   HAL_UART_Abort(&huart5);
					temp1[0] = 0x01;
					temp1[1] = 0xFe;
				  HAL_UART_Transmit(&huart5,temp1,2,10);
					HAL_UART_Transmit_DMA(&huart5,(uint8_t *)ov7670Frame,sizeof(ov7670Frame));
					GUI_Delay(5000);
				  temp1[0] = 0xfe;
					temp1[1] = 0x01;
				  HAL_UART_Transmit(&huart5,temp1,2,10);
				   SwDis = 1;
			  }

		  }
		  //if(StartTaskEvent.value.signals&0x02)
		  if(!HAL_GPIO_ReadPin(KEY0_GPIO_Port,KEY0_Pin))
		  {

			  if(SwDis == 0)
			  {
				  SwDis = 1;
				  //GUI_SetOrientation( GUI_MIRROR_Y|GUI_MIRROR_X|GUI_SWAP_XY);
				  WM_HideWindow(hWinDatadisplay);
				  //WM_ShowWindow(hCameraView);

				 __HAL_TIM_SetCompare(&htim2,TIM_CHANNEL_1,50);
			  }
			  else
			  {
				  SwDis = 0;
				  //WM_HideWindow(hCameraView);
				  //GUI_SetOrientation( GUI_MIRROR_Y|GUI_MIRROR_X);
				  WM_ShowWindow(hWinDatadisplay);

				  __HAL_TIM_SetCompare(&htim2,TIM_CHANNEL_1,40);
			  }
			  GUI_Delay(200); //消抖
			  //osSignalClear(startTaskHandle,0x02);
			  //osSignalClear(
		  }
		  else if(!HAL_GPIO_ReadPin(KEY1_GPIO_Port,KEY1_Pin))
		  {
			  static uint8_t switchlight;
				 //GUI_Delay(200);
				if(!HAL_GPIO_ReadPin(KEY1_GPIO_Port,KEY1_Pin)) switchlight++;
//				if(switchlight > 20)
//				{
//					lightC = 0;
//					switchlight = 0;
//				}
				if(switchlight < 10 && switchlight>1)
				{
					switchlight = 0;
					lightC +=10;
					if(lightC > 100) lightC = 0;
				}
//				 if(!HAL_GPIO_ReadPin(KEY1_GPIO_Port,KEY1_Pin))
//				 {
//					 switchlight = lightC;
//					lightC +=10;
//					 if(lightC > 100) lightC = 10;
//				 }
//				 else
//				 {
//					 if(!switchlight)
//					 lightC = 0;
//					 else
//					 {
//						 //lightC = switchlight;
//						 switchlight = 0;
//					 }
//				 }
				 ov7670_drv.CameraLight_Set(lightC);
		  }

	  }
	  else if(StartTaskEvent.status == osEventTimeout)
	  {
		  osSignalSet(startTaskHandle,0x01); //按键界面刷新
		  //HAL_DCMI_Start_DMA(&hdcmi, DCMI_MODE_SNAPSHOT, (uint32_t)ov7670Frame, 0x2580);
		  HAL_GPIO_TogglePin(D3_GPIO_Port,D3_Pin);
	  }
	  static uint32_t X0t;
	  if(X0 != X0t)
	  {
		  X0t = X0;
	  HAL_DCMI_ConfigCrop(&hdcmi, X0*2, Y0, 120*2-1, 160-1); // x0 :0 ~ (320(X0) - 120)*2 Y0 : 640 -160 max 200
	  //HAL_DCMI_Resume(&hdcmi);
	  }
	 //GUI_Delay(50);
	  //IMAGE_SetBMPEx(hlogo,&camera,
//	  HAL_UART_Abort(&huart2);
//	  	temp1[0] = 0x01;
//	   temp1[1] = 0xFe;
//	  HAL_UART_Transmit(&huart2,temp1,2,10);
//		HAL_UART_Transmit_DMA(&huart2,ov7670Frame,sizeof(ov7670Frame));
//		GUI_Delay(5000);
//	  temp1[0] = 0xfe;
//	   temp1[1] = 0x01;
//	  HAL_UART_Transmit(&huart2,temp1,2,10);
	  //GUI_Delay(100);
	  //HAL_GPIO_TogglePin(D3_GPIO_Port,D3_Pin);
    //osDelay(100);
  }
  /* USER CODE END StartTask */
}

/************************ (C) COPYRIGHT STMicroelectronics *****END OF FILE****/
